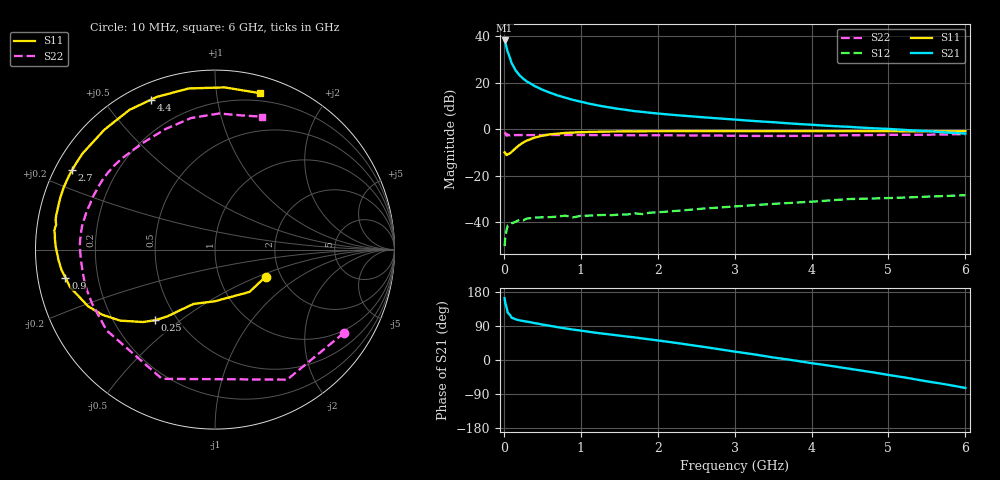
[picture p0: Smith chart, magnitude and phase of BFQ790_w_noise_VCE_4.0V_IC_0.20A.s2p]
! Infineon Technologies  Discrete & RF Semiconductors
! BFQ790
! VCE =  4.0 V,  IC = 0.20 A
! Common Emitter S-Parameters:  May 2015
# GHz  S  MA  R  50
!  f  S11  S21  S12  S22
! GHz  MAG  ANG  MAG  ANG  MAG  ANG  MAG  ANG
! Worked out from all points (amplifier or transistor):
!   77 points, 10 MHz to 6 GHz, reference 50 ohm
!   highest |S21| = 38.1 dB at 10 MHz (marker M1)
!   |S21| within 3 dB of that: start of sweep to 35.31 MHz
!   unconditionally stable (mu >= 1): 223.3 MHz to 758.5 MHz; 828.3 MHz to end of sweep
!   at 130 MHz: K = 0.79, MSG = 33.3 dB, |S12| = -40.0 dB
!   at 2.2 GHz: K = 1.30, MAG = 17.4 dB, |S12| = -35.1 dB
!   at 6 GHz: K = 1.13, MAG = 11.0 dB, |S12| = -28.3 dB
!   lowest NFmin = 3.33 dB at 1.5 GHz
!   S11 on the Smith chart (normalised r, x): 10 MHz: 1.67, -0.56; 250 MHz: 0.38, -0.41; 900 MHz: 0.08, -0.09; 2.7 GHz: 0.05, +0.26; 4.4 GHz: 0.07, +0.66; 6 GHz: 0.13, +1.32
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0.01  0.3199 -28.3  80.16 163.1  0.0031 62.0  0.8556 -32.8
0.02  0.3041 -50.9  71.16 148.5  0.0051 55.2  0.8285 -61.0
0.05  0.2881 -90.3  45.38 124.5  0.0086 33.1  0.7783 -112.3
0.1  0.3254 -111.5  26.24 111.7  0.0095 20.6  0.7532 -143.3
0.15  0.3863 -119.6  18.56 107.4  0.0103 18.7  0.7481 -156.2
0.2  0.4546 -125.3  14.61 104.8  0.0113 21.3  0.7489 -163.0
0.25  0.5161 -130.3  12.21 103.0  0.0111 20.9  0.7483 -167.5
0.3  0.5698 -134.9  10.53 101.2  0.0121 15.0  0.7475 -170.9
0.4  0.6608 -143.2  8.432 97.3  0.0128 16.6  0.7493 -175.8
0.5  0.7259 -150.0  7.044 93.6  0.0129 10.6  0.7513 -179.3
0.6  0.7748 -156.0  6.07 90.1  0.013 13.0  0.7533 177.9
0.7  0.8027 -161.1  5.303 86.6  0.0134 12.8  0.7534 175.5
0.9  0.848 -169.4  4.254 80.2  0.0128 9.5  0.7521 171.7
1.1  0.8731 -175.9  3.566 74.6  0.014 9.7  0.7506 168.3
1.5  0.8959 174.9  2.719 64.4  0.0148 11.3  0.7448 162.6
2.1  0.9067 163.6  2.099 49.0  0.017 11.9  0.7388 153.9
2.7  0.9107 150.9  1.748 31.5  0.0204 8.0  0.7322 142.2
3.1  0.9083 141.7  1.565 19.3  0.0226 3.6  0.7219 133.2
4.1  0.9098 119.4  1.217 -11.1  0.0286 -9.7  0.7275 109.7
4.4  0.9083 113.0  1.141 -20.2  0.031 -15.5  0.7389 102.6
5.1  0.9053 96.8  0.99 -42.6  0.0338 -29.6  0.7575 86.3
6  0.9069 73.9  0.808 -73.8  0.0385 -50.0  0.7848 70.7
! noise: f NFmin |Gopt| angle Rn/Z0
0.45  5.48  0.47  141  0.52
0.9  3.84  0.6  168  0.17
1.5  3.33  0.71  -172  0.09
1.8  3.37  0.72  -167  0.11
2.6  3.63  0.75  -151  0.27
3.5  4.17  0.82  -135  0.61
